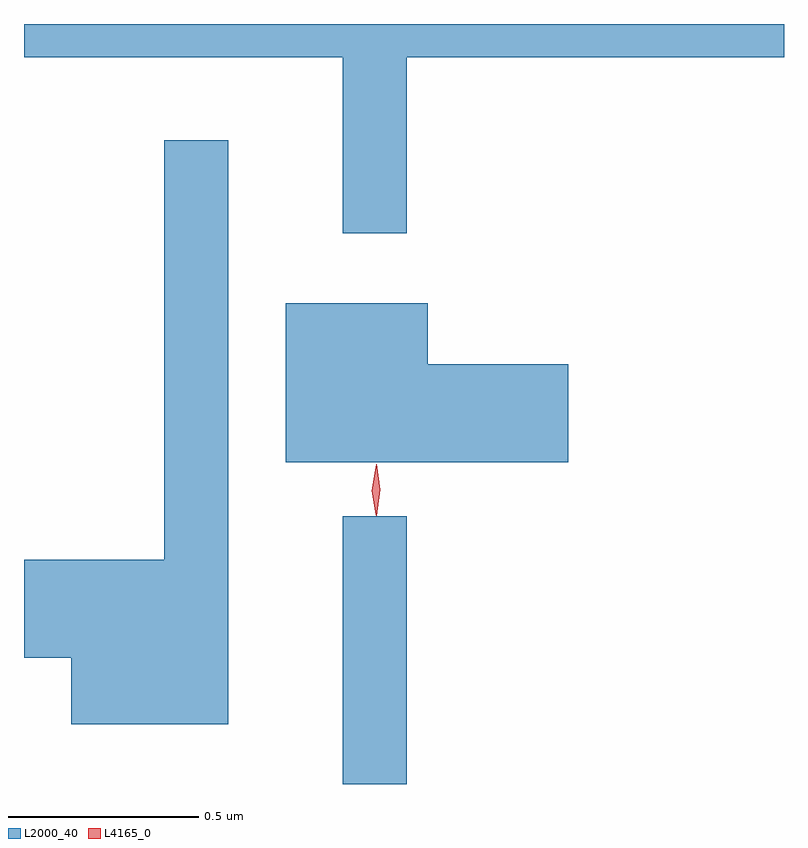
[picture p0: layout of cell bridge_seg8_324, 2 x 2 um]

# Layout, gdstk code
import gdstk
lib = gdstk.Library(unit=1e-6, precision=1e-09)
def R(c, l, rs):  # rectangles x0, y0, x1, y1
    for r in rs: c.add(gdstk.rectangle(r[:2], r[2:], *l))
def P(c, l, *ps):  # polygons
    for p in ps: c.add(gdstk.Polygon(p, *l))
L2000_40 = (2000, 40)
L4165_0 = (4165, 0)

bridge_seg8_324 = lib.new_cell('bridge_seg8_324')
R(bridge_seg8_324, L2000_40, [(983.761,1887.784,983.929,1888.488)])
P(bridge_seg8_324, L2000_40, [(983.929,1889.696),(984.922,1889.696),(984.922,1889.784),(982.922,1889.784),(982.922,1889.696),(983.761,1889.696),(983.761,1889.233),(983.929,1889.233)],
  [(983.459,1889.478),(983.291,1889.478),(983.291,1888.374),(982.922,1888.374),(982.922,1888.116),(983.046,1888.116),(983.046,1887.941),(983.459,1887.941)],
  [(984.354,1888.889),(983.984,1888.889),(983.984,1889.049),(983.611,1889.049),(983.611,1888.631),(984.354,1888.631)])
P(bridge_seg8_324, L4165_0, [(983.849,1888.49),(983.84,1888.558),(983.849,1888.626),(983.85,1888.626),(983.85,1888.626),(983.86,1888.558),(983.85,1888.49),(983.85,1888.49)],
  [(983.847,1888.493),(983.847,1888.493),(983.837,1888.556),(983.847,1888.619),(983.847,1888.62),(983.848,1888.619),(983.858,1888.556),(983.848,1888.493)])

lib.write_gds('bridge_seg8_324.gds')
